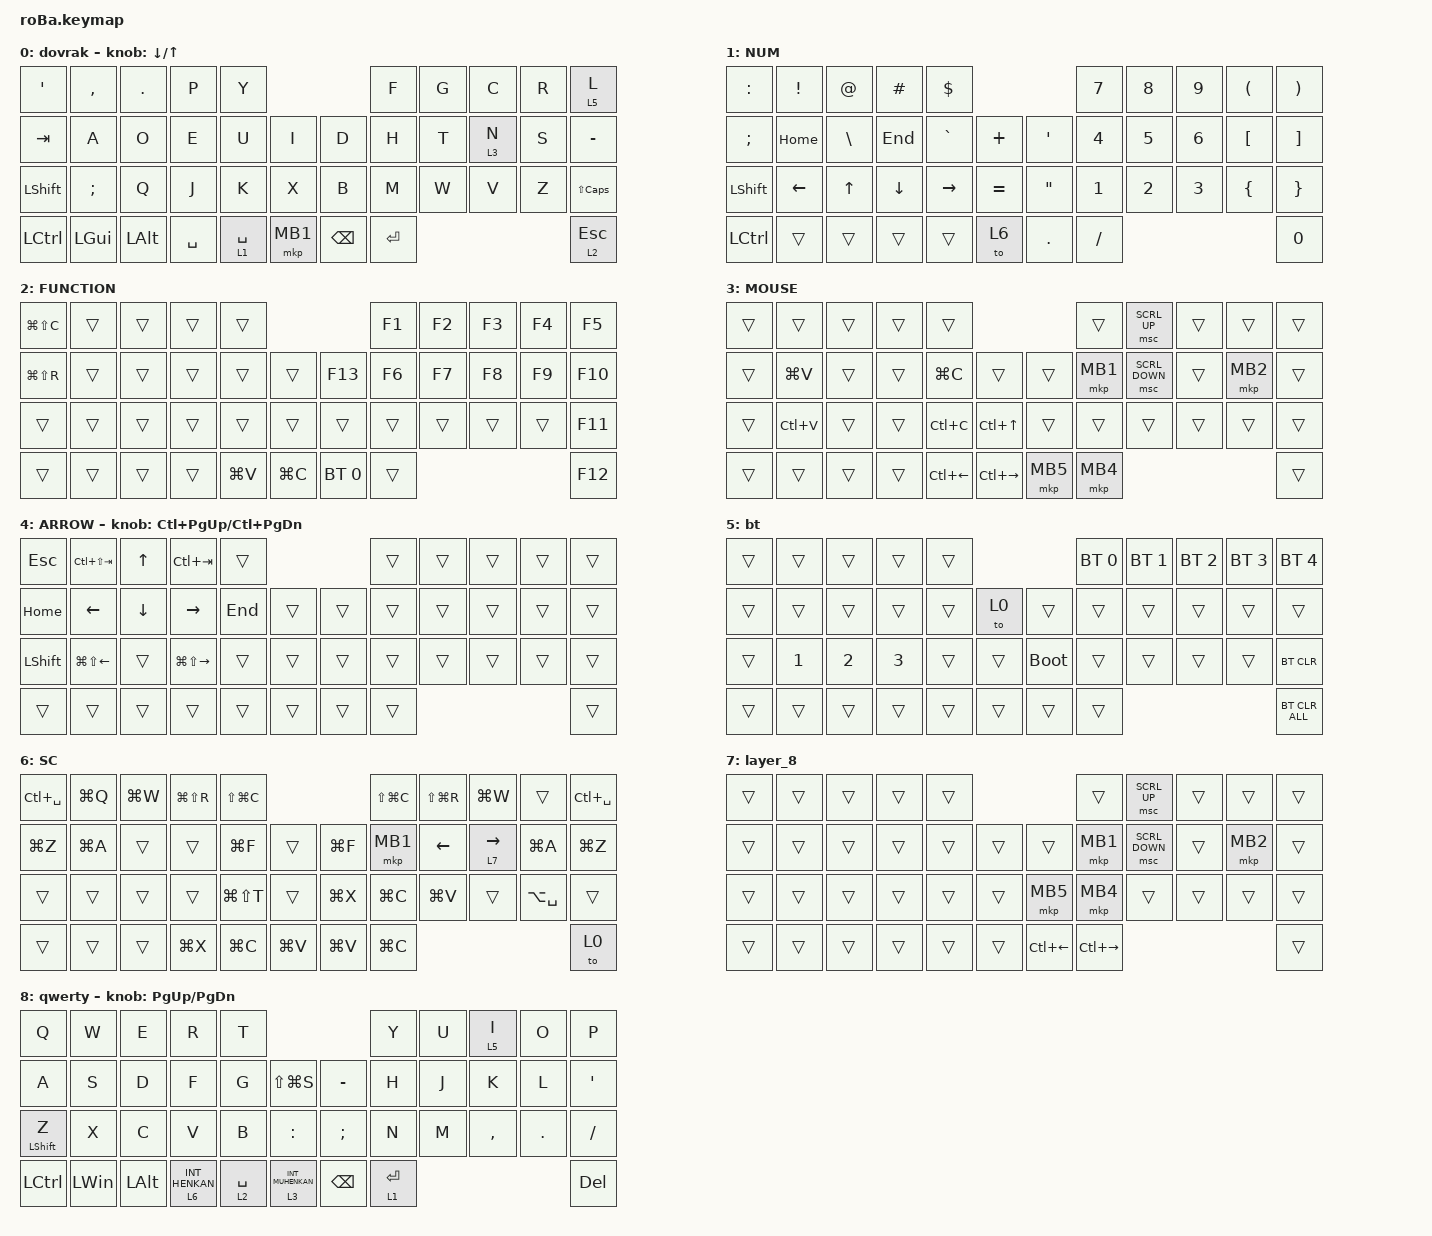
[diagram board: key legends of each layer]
#include <behaviors.dtsi>
#include <dt-bindings/zmk/bt.h>
#include <dt-bindings/zmk/keys.h>
#include <dt-bindings/zmk/pointing.h>

&mt {
    flavor = "balanced";
    quick-tap-ms = <0>;
};

&trackball {
    // arrows {
    //     layers = <3>;
    //     bindings =
    //         <&kp RIGHT_ARROW>,
    //         <&kp LEFT_ARROW>,
    //         <&kp UP_ARROW>,
    //         <&kp DOWN_ARROW>;
    //     tick = <10>;
    //     wait-ms = <5>;
    //     tap-ms = <5>;
    // };
};

/ {
    combos {
        compatible = "zmk,combos";

        tab {
            bindings = <&kp TAB>;
            key-positions = <11 12>;
        };

        shift_tab {
            bindings = <&kp LS(TAB)>;
            key-positions = <12 13>;
        };

        muhennkann {
            bindings = <&to_layer_0 INT_MUHENKAN>;
            key-positions = <11 10>;
        };

        double_quotation {
            bindings = <&kp DOUBLE_QUOTES>;
            key-positions = <20 21>;
        };

        eq {
            bindings = <&kp EQUAL>;
            key-positions = <24 25>;
        };

        alt {
            bindings = <&kp LEFT_ALT>;
            key-positions = <34 35>;
        };
    };

    macros {
        to_layer_0: to_layer_0 {
            compatible = "zmk,behavior-macro-one-param";
            #binding-cells = <1>;
            bindings = <&to 0 &macro_param_1to1 &kp MACRO_PLACEHOLDER>;
            label = "TO_LAYER_0";
        };
    };

    behaviors {
        lt_to_layer_0: lt_to_layer_0 {
            compatible = "zmk,behavior-hold-tap";
            label = "LAYER_TAP_TO_0";
            bindings = <&mo>, <&to_layer_0>;

            #binding-cells = <2>;
            tapping-term-ms = <200>;
        };
    };

    keymap {
        compatible = "zmk,keymap";

        dovrak {
            bindings = <
&kp SQT         &kp COMMA      &kp PERIOD    &kp P      &kp Y                                     &kp F      &kp G  &kp C    &kp R  &lt 5 L
&kp TAB         &kp A          &kp O         &kp E      &kp U        &kp I         &kp D          &kp H      &kp T  &lt 3 N  &kp S  &kp MINUS
&kp LEFT_SHIFT  &kp SEMICOLON  &kp Q         &kp J      &kp K        &kp X         &kp B          &kp M      &kp W  &kp V    &kp Z  &kp LS(CLCK)
&kp LCTRL       &kp LEFT_GUI   &kp LEFT_ALT  &kp SPACE  &lt 1 SPACE  &mkp MB1      &kp BACKSPACE  &kp ENTER                         &lt 2 ESCAPE
            >;

            sensor-bindings = <&inc_dec_kp DOWN_ARROW UP_ARROW>;
        };

        NUM {
            bindings = <
&kp COLON       &kp EXCLAMATION  &kp AT_SIGN    &kp HASH        &kp DOLLAR                                         &kp N7        &kp N8        &kp N9        &kp LEFT_PARENTHESIS  &kp RIGHT_PARENTHESIS
&kp SEMICOLON   &kp HOME         &kp BACKSLASH  &kp END         &kp GRAVE        &kp PLUS       &kp SQT            &kp NUMBER_4  &kp N5        &kp NUMBER_6  &kp LEFT_BRACKET      &kp RIGHT_BRACKET
&kp LEFT_SHIFT  &kp LEFT_ARROW   &kp UP_ARROW   &kp DOWN_ARROW  &kp RIGHT_ARROW  &kp EQUAL      &kp DOUBLE_QUOTES  &kp N1        &kp NUMBER_2  &kp N3        &kp LEFT_BRACE        &kp RIGHT_BRACE
&kp LCTRL       &trans           &trans         &trans          &trans           &to 6          &kp PERIOD         &kp SLASH                                                       &kp N0
            >;
        };

        FUNCTION {
            bindings = <
&kp LG(LS(C))  &trans  &trans  &trans  &trans                                  &kp F1  &kp F2  &kp F3  &kp F4  &kp F5
&kp LG(LS(R))  &trans  &trans  &trans  &trans     &trans         &kp F13       &kp F6  &kp F7  &kp F8  &kp F9  &kp F10
&trans         &trans  &trans  &trans  &trans     &trans         &trans        &trans  &trans  &trans  &trans  &kp F11
&trans         &trans  &trans  &trans  &kp LG(V)  &kp LG(C)      &bt BT_SEL 0  &trans                          &kp F12
            >;
        };

        MOUSE {
            bindings = <
&trans  &trans     &trans  &trans  &trans                                                 &trans    &msc SCRL_UP    &trans  &trans    &trans
&trans  &kp LG(V)  &trans  &trans  &kp LG(C)           &trans                   &trans    &mkp MB1  &msc SCRL_DOWN  &trans  &mkp MB2  &trans
&trans  &kp LC(V)  &trans  &trans  &kp LC(C)           &kp LC(UP_ARROW)         &trans    &trans    &trans          &trans  &trans    &trans
&trans  &trans     &trans  &trans  &kp LC(LEFT_ARROW)  &kp LC(RIGHT_ARROW)      &mkp MB5  &mkp MB4                                    &trans
            >;
        };

        ARROW {
            bindings = <
&kp ESCAPE      &kp LC(LS(TAB))         &kp UP_ARROW    &kp LC(TAB)              &trans                       &trans  &trans  &trans  &trans  &trans
&kp HOME        &kp LEFT_ARROW          &kp DOWN_ARROW  &kp RIGHT_ARROW          &kp END  &trans      &trans  &trans  &trans  &trans  &trans  &trans
&kp LEFT_SHIFT  &kp LG(LS(LEFT_ARROW))  &trans          &kp LG(LS(RIGHT_ARROW))  &trans   &trans      &trans  &trans  &trans  &trans  &trans  &trans
&trans          &trans                  &trans          &trans                   &trans   &trans      &trans  &trans                          &trans
            >;

            sensor-bindings = <&inc_dec_kp LC(PAGE_UP) LC(PAGE_DOWN)>;
        };

        bt {
            bindings = <
&trans  &trans        &trans        &trans        &trans                           &bt BT_SEL 0  &bt BT_SEL 1  &bt BT_SEL 2  &bt BT_SEL 3  &bt BT_SEL 4
&trans  &trans        &trans        &trans        &trans  &to 0       &trans       &trans        &trans        &trans        &trans        &trans
&trans  &kp NUMBER_1  &kp NUMBER_2  &kp NUMBER_3  &trans  &trans      &bootloader  &trans        &trans        &trans        &trans        &bt BT_CLR
&trans  &trans        &trans        &trans        &trans  &trans      &trans       &trans                                                  &bt BT_CLR_ALL
            >;
        };

        SC {
            bindings = <
&kp LC(SPACE)  &kp LG(Q)  &kp LG(W)  &kp LG(LS(R))  &kp LS(LG(C))                            &kp LS(LG(C))  &kp LS(LG(R))   &kp LG(W)          &trans         &kp LC(SPACE)
&kp LG(Z)      &kp LG(A)  &trans     &trans         &kp LG(F)      &trans         &kp LG(F)  &mkp MB1       &kp LEFT_ARROW  &lt 7 RIGHT_ARROW  &kp LG(A)      &kp LG(Z)
&trans         &trans     &trans     &trans         &kp LG(LS(T))  &trans         &kp LG(X)  &kp LG(C)      &kp LG(V)       &trans             &kp LA(SPACE)  &trans
&trans         &trans     &trans     &kp LG(X)      &kp LG(C)      &kp LG(V)      &kp LG(V)  &kp LG(C)                                                        &to 0
            >;
        };

        layer_8 {
            bindings = <
&trans  &trans  &trans  &trans  &trans                                  &trans               &msc SCRL_UP    &trans  &trans    &trans
&trans  &trans  &trans  &trans  &trans  &trans      &trans              &mkp MB1             &msc SCRL_DOWN  &trans  &mkp MB2  &trans
&trans  &trans  &trans  &trans  &trans  &trans      &mkp MB5            &mkp MB4             &trans          &trans  &trans    &trans
&trans  &trans  &trans  &trans  &trans  &trans      &kp LC(LEFT_ARROW)  &kp LC(RIGHT_ARROW)                                    &trans
            >;
        };

        qwerty {
            bindings = <
&kp Q             &kp W         &kp E         &kp R                        &kp T                                                          &kp Y        &kp U  &lt 5 I    &kp O    &kp P
&kp A             &kp S         &kp D         &kp F                        &kp G        &kp LS(LG(S))                      &kp MINUS      &kp H        &kp J  &kp K      &kp L    &kp SQT
&mt LEFT_SHIFT Z  &kp X         &kp C         &kp V                        &kp B        &kp COLON                          &kp SEMICOLON  &kp N        &kp M  &kp COMMA  &kp DOT  &kp SLASH
&kp LCTRL         &kp LEFT_WIN  &kp LEFT_ALT  &lt_to_layer_0 6 INT_HENKAN  &lt 2 SPACE  &lt_to_layer_0 3 INT_MUHENKAN      &kp BACKSPACE  &lt 1 ENTER                             &kp DEL
            >;

            sensor-bindings = <&inc_dec_kp PG_UP PAGE_DOWN>;
        };
    };
};
